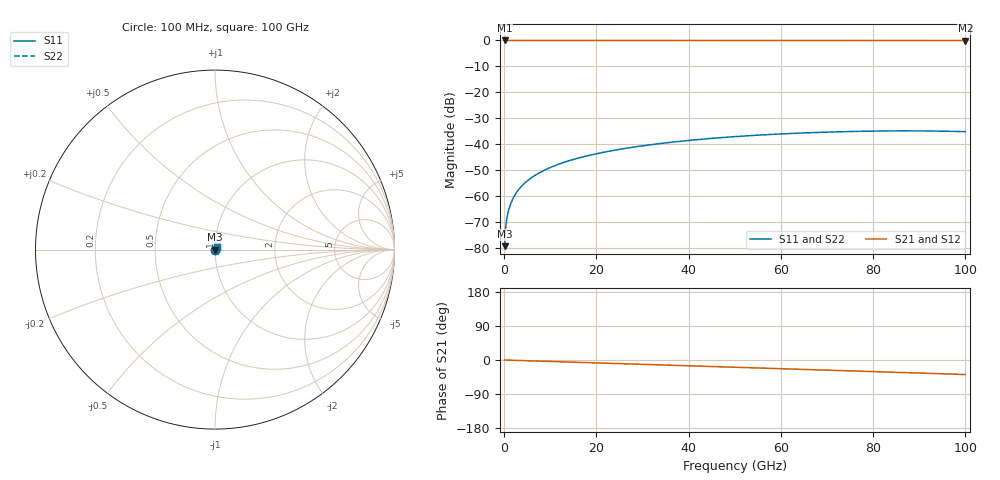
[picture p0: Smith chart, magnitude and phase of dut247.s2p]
! Touchstone file exported from HFSS 2026.1.0
!  File:  C:/ffzhzh/LocalFiles/Ansys_Project_Files/temp_train_TSV_247_1783508276_31944.aedt
!  Generated:  06:59:07 PM Jul  8, 2026
!  Design:  TSV
!  Project:  temp_train_TSV_247_1783508276_31944
! Variables:
!  h_bsmrdl = 2um
!  h_ox = 20um
!  h_rdl = 5um
!  h_sub = 73.46um
!  h_tmrdl = 5um
!  h_tsv = 73.46um
!  h_via = 3um
!  l_bsmrdl = 300um
!  l_sub = 425.58um
!  l_tmrdl = 200um
!  m_sub = 200um
!  pitch = 53.65um
!  r_tsv = 12.79um
!  s_tmrdl = 10um
!  w_bsmrdl = 18um
!  w_sub = 500um
!  w_tmrdl = 12um
!  x_tsv_center1 = 206um
!  x_tsv_center2 = 524um
!  x_tsv_center3 = 736um
!  x_tsv_center4 = 1054um
!  x_tsv_center5 = 1266um
!  x_tsv_center6 = 1584um
# GHz S MA R 50.000000
! Terminal data exported
! Port[1] = TSV1_1_T1
! Port[2] = TSV1_1_T2
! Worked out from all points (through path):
!   1000 points, 100 MHz to 100 GHz, reference 50 ohm
!   highest |S21| = 0.00 dB at 100 MHz (marker M1); lowest = 0.0 dB at 100 GHz (marker M2)
!   group delay of S21, straight-line fit = 1.06 ps
!   lowest |S11| = -79.3 dB at 100 MHz (marker M3), VSWR 1.00, Z = 50 + j0.00701 ohm
!   |S11| at or under -10 dB: start of sweep to end of sweep
!   |S22| runs from -79.3 to -34.9 dB; largest |S21 - S12| = 1.3e-14
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0.1  0.0001082 40.4  0.9999 -0.0  0.9999 -0.0  0.0001082 40.4
! Gamma 0 0 0 0
! Port Impedance 50 0 50 0
0.4  0.0002824 61.9  0.9999 -0.2  0.9999 -0.2  0.0002824 61.9
0.7  0.0004256 64.0  0.9998 -0.3  0.9998 -0.3  0.0004256 64.0
0.8  0.0004678 64.5  0.9998 -0.3  0.9998 -0.3  0.0004678 64.5
1  0.0005483 65.6  0.9998 -0.4  0.9998 -0.4  0.0005483 65.6
1.3  0.0006642 67.1  0.9997 -0.5  0.9997 -0.5  0.0006642 67.1
1.8  0.0008522 69.1  0.9997 -0.7  0.9997 -0.7  0.0008522 69.1
2.4  0.001072 70.6  0.9997 -0.9  0.9997 -0.9  0.001072 70.6
3.1  0.001319 71.7  0.9996 -1.2  0.9996 -1.2  0.001319 71.7
3.9  0.001593 72.6  0.9996 -1.5  0.9996 -1.5  0.001593 72.6
4.9  0.001925 73.4  0.9995 -1.9  0.9995 -1.9  0.001925 73.4
6.1  0.002317 74.0  0.9995 -2.3  0.9995 -2.3  0.002317 74.0
8.9  0.00321 74.7  0.9993 -3.4  0.9993 -3.4  0.003209 74.7
12.5  0.004327 74.6  0.9992 -4.8  0.9992 -4.8  0.004327 74.6
16.8  0.005612 74.1  0.9991 -6.4  0.9991 -6.4  0.005612 74.1
24.3  0.007761 72.6  0.9989 -9.3  0.9989 -9.3  0.00776 72.6
33.4  0.0102 70.1  0.9986 -12.7  0.9986 -12.7  0.0102 70.1
41.3  0.01213 67.5  0.9985 -15.7  0.9985 -15.7  0.01212 67.6
50.1  0.01402 64.6  0.9983 -19.1  0.9983 -19.1  0.01402 64.6
66.7  0.01671 58.6  0.998 -25.4  0.998 -25.4  0.01671 58.7
83.4  0.01802 52.3  0.9976 -31.9  0.9976 -31.9  0.01802 52.4
100  0.01743 45.9  0.9973 -38.3  0.9973 -38.3  0.01742 46.0
